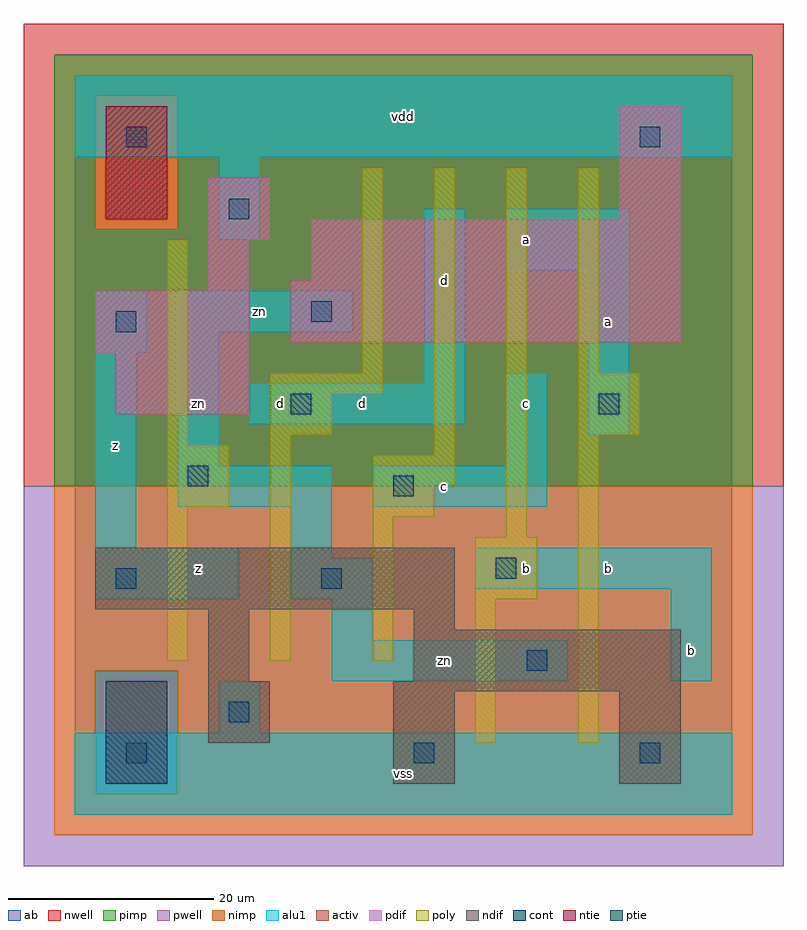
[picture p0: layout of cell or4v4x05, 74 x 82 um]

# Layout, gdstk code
import gdstk
lib = gdstk.Library(unit=1e-6, precision=1e-09)
def R(c, l, rs):  # rectangles x0, y0, x1, y1
    for r in rs: c.add(gdstk.rectangle(r[:2], r[2:], *l))
ndif = (3, 0)
pdif = (4, 0)
ntie = (5, 0)
ptie = (6, 0)
cont = (25, 0)
pwell = (41, 0)
nwell = (42, 0)
activ = (43, 0)
pimp = (44, 0)
nimp = (45, 0)
poly = (46, 0)
alu1 = (49, 0)
ab = (63, 0)

or4v4x05 = lib.new_cell('or4v4x05')
R(or4v4x05, ndif, [(31,3,37,12), (53,3,59,12), (13,7,19,13), (31,12,59,13), (13,13,17,20), (33,13,59,18), (33,18,37,20), (2,20,37,26)])
R(or4v4x05, pdif, [(4,39,17,45), (2,45,17,51), (21,46,59,52), (13,51,17,56), (23,52,59,58), (13,56,19,62), (53,58,59,69)])
R(or4v4x05, ntie, [(3,58,9,69)])
R(or4v4x05, ptie, [(3,3,9,13)])
R(or4v4x05, cont, [(5,5,7,7), (33,5,35,7), (55,5,57,7), (15,9,17,11), (44,14,46,16), (4,22,6,24), (24,22,26,24), (41,23,43,25), (31,31,33,33), (11,32,13,34), (21,39,23,41), (51,39,53,41), (4,47,6,49), (23,48,25,50), (15,58,17,60), (5,65,7,67), (55,65,57,67)])
R(or4v4x05, pwell, [(-5,-5,69,32)])
R(or4v4x05, nwell, [(-5,32,69,77)])
R(or4v4x05, activ, [(3,3,9,13), (31,3,37,12), (53,3,59,12), (13,7,19,13), (31,12,59,13), (13,13,17,20), (33,13,59,18), (33,18,37,20), (2,20,37,26), (4,39,17,45), (2,45,17,51), (21,46,59,52), (13,51,17,56), (23,52,59,58), (13,56,19,62), (3,58,9,69), (53,58,59,69)])
R(or4v4x05, pimp, [(2,2,10,14), (-2,32,66,57), (-2,57,2,70), (10,57,66,70), (-2,70,66,74)])
R(or4v4x05, nimp, [(-2,-2,66,2), (-2,2,2,14), (10,2,66,14), (-2,14,66,32), (2,57,10,70)])
R(or4v4x05, poly, [(39,7,41,21), (49,7,51,37), (9,15,11,30), (19,15,21,37), (29,15,31,29), (39,21,45,27), (42,27,44,63), (29,29,35,32), (9,30,15,36), (29,32,37,35), (35,35,37,63), (9,36,11,56), (19,37,25,41), (49,37,55,43), (19,41,30,43), (28,43,30,63), (49,43,51,63)])
R(or4v4x05, alu1, [(0,0,64,8), (14,8,18,13), (25,13,48,17), (58,13,62,22), (25,17,29,21), (2,21,16,26), (21,21,29,25), (39,22,62,26), (21,25,25,30), (2,26,6,45), (10,30,25,34), (29,30,46,34), (10,34,14,47), (42,34,46,43), (50,37,54,53), (17,38,38,42), (34,42,38,59), (2,45,7,51), (10,47,27,51), (42,53,54,59), (14,56,18,64), (0,64,64,72)])
R(or4v4x05, ab, [(0,0,64,72)])
or4v4x05.add(gdstk.Label('zn', (12,40), layer=49, texttype=0))
or4v4x05.add(gdstk.Label('zn', (18,49), layer=49, texttype=0))
or4v4x05.add(gdstk.Label('zn', (36,15), layer=49, texttype=0))
or4v4x05.add(gdstk.Label('z', (12,24), layer=49, texttype=0))
or4v4x05.add(gdstk.Label('z', (4,36), layer=49, texttype=0))
or4v4x05.add(gdstk.Label('d', (20,40), layer=49, texttype=0))
or4v4x05.add(gdstk.Label('d', (28,40), layer=49, texttype=0))
or4v4x05.add(gdstk.Label('vss', (32,4), layer=49, texttype=0))
or4v4x05.add(gdstk.Label('c', (36,32), layer=49, texttype=0))
or4v4x05.add(gdstk.Label('b', (44,24), layer=49, texttype=0))
or4v4x05.add(gdstk.Label('c', (44,40), layer=49, texttype=0))
or4v4x05.add(gdstk.Label('d', (36,52), layer=49, texttype=0))
or4v4x05.add(gdstk.Label('a', (44,56), layer=49, texttype=0))
or4v4x05.add(gdstk.Label('vdd', (32,68), layer=49, texttype=0))
or4v4x05.add(gdstk.Label('b', (60,16), layer=49, texttype=0))
or4v4x05.add(gdstk.Label('b', (52,24), layer=49, texttype=0))
or4v4x05.add(gdstk.Label('a', (52,48), layer=49, texttype=0))

lib.write_gds('or4v4x05.gds')
